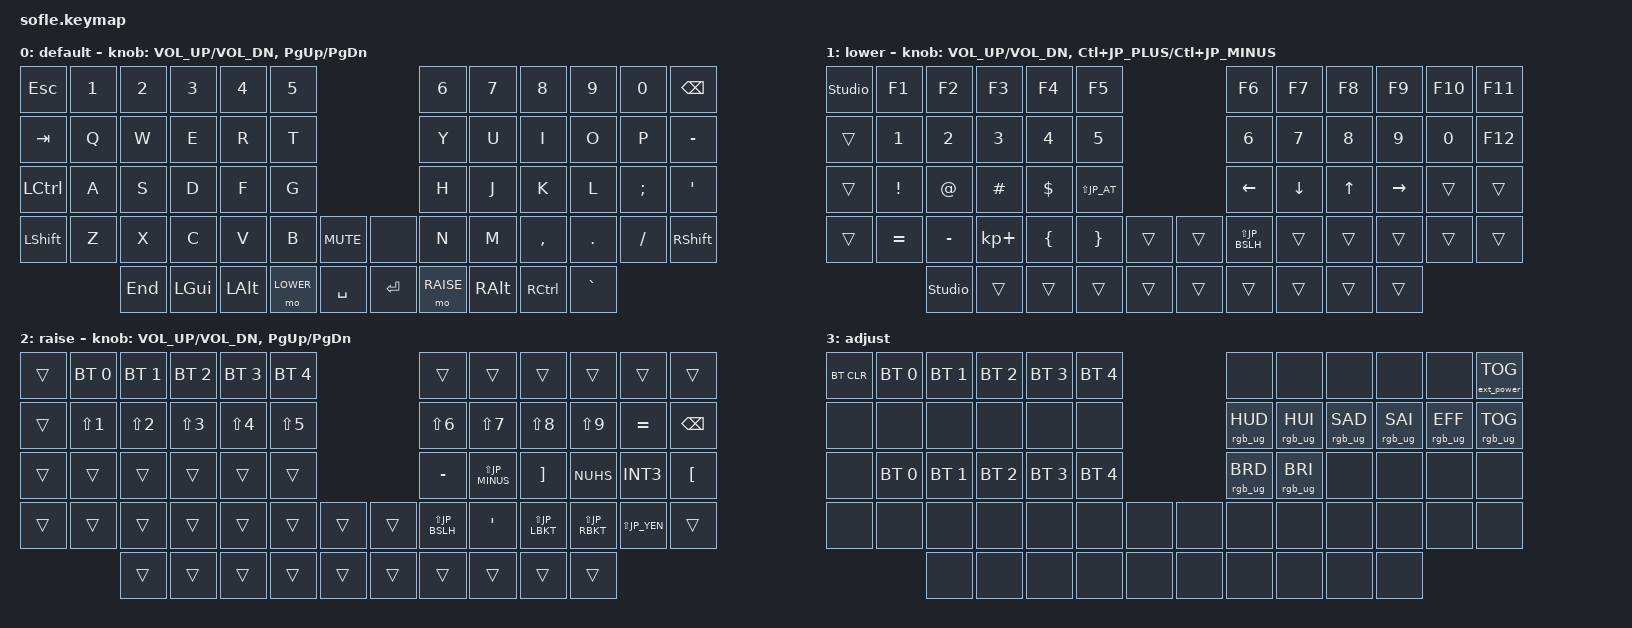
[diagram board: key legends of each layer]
/*
 * Copyright (c) 2020 The ZMK Contributors
 *
 * SPDX-License-Identifier: MIT
 */

#include <behaviors.dtsi>
#include <dt-bindings/zmk/bt.h>
#include <dt-bindings/zmk/ext_power.h>
#include <dt-bindings/zmk/keys.h>
#include <dt-bindings/zmk/rgb.h>

#define BASE 0
#define LOWER 1
#define RAISE 2
#define ADJUST 3

#define JP_ZKHK  GRAVE        // Zenkaku ↔ Hankaku ↔ Kanji (半角 ↔ 全角 ↔ 漢字)
#define JP_MINUS MINUS        // -
#define JP_CARET EQUAL        // ^
#define JP_YEN   INT3         // ¥
#define JP_AT    LBKT         // @
#define JP_LBKT  RBKT         // [
#define JP_EISU  CAPS         // Eisū (英数)
#define JP_SEMI  SEMI         // ;
#define JP_COLON SQT          // :
#define JP_RBKT  NUHS         // ]
#define JP_COMMA COMMA        // ,
#define JP_DOT   DOT          // .
#define JP_SLASH SLASH        // /
#define JP_BSLH  INT1         // (backslash)
#define JP_MHEN  INT5         // Muhenkan (無変換)
#define JP_HENK  INT4         // Henkan (変換)
#define JP_KANA  INT2         // Katakana ↔ Hiragana ↔ Rōmaji (カタカナ ↔ ひらがな ↔ ローマ字)
#define JP_EXCL  LS(N1)       // !
#define JP_DQT   LS(N2)       // "
#define JP_HASH  LS(N3)       // #
#define JP_DLLR  LS(N4)       // $
#define JP_PRCNT LS(N5)       // %
#define JP_AMPS  LS(N6)       // &
#define JP_SQT   LS(N7)       // '
#define JP_LPAR  LS(N8)       // (
#define JP_RPAR  LS(N9)       // )
#define JP_EQUAL LS(JP_MINUS) // =
#define JP_TILDE LS(JP_CARET) // ~
#define JP_PIPE  LS(JP_YEN)   // |
#define JP_GRAVE LS(JP_AT)    // `
#define JP_LBRC  LS(JP_LBKT)  // {
#define JP_CAPS  LS(JP_EISU)  // Caps Lock
#define JP_PLUS  LS(JP_SEMI)  // +
#define JP_ASTRK LS(JP_COLON) // *
#define JP_RBRC  LS(JP_RBKT)  // }
#define JP_LT    LS(JP_COMMA) // <
#define JP_RT    LS(JP_DOT)   // >
#define JP_QMARK LS(JP_SLASH) // ?
#define JP_UNDER LS(JP_BSLH)  // _

/ {
    // Activate ADJUST layer by pressing raise and lower

    conditional_layers {
        compatible = "zmk,conditional-layers";

        adjust_layer {
            if-layers = <LOWER RAISE>;
            then-layer = <ADJUST>;
        };
    };

    keymap {
        compatible = "zmk,keymap";

        default_layer {
            label = "default";

            // ------------------------------------------------------------------------------------------------------------
            // |  ESC  |  1  |  2  |  3  |  4  |   5   |                   |   6   |  7  |     8    |    9   |    0    | BSPC     |
            // |  TAB  |  Q  |  W  |  E  |  R  |   T   |                   |   Y   |  U  |     I    |    O   |    P    | JP_MINUS |
            // | LCTRL |  A  |  S  |  D  |  F  |   G   |                   |   H   |  J  |     K    |    L   | JP_SEMI | JP_COLON |
            // | SHIFT |  Z  |  X  |  C  |  V  |   B   |  MUTE  |  |       |   N   |  M  | JP_COMMA | JP_DOT | JP_SLASH|  SHIFT   |
            //               | END | GUI | ALT | LOWER |  SPACE |  | ENTER | RAISE | ALT |   RCTRL  | JP_ZKHK|

            bindings = <
&kp ESC    &kp N1  &kp N2    &kp N3    &kp N4     &kp N5                            &kp N6     &kp N7     &kp N8        &kp N9      &kp N0       &kp BSPC
&kp TAB    &kp Q   &kp W     &kp E     &kp R      &kp T                             &kp Y      &kp U      &kp I         &kp O       &kp P        &kp JP_MINUS
&kp LCTRL  &kp A   &kp S     &kp D     &kp F      &kp G                             &kp H      &kp J      &kp K         &kp L       &kp JP_SEMI  &kp JP_COLON
&kp LSHFT  &kp Z   &kp X     &kp C     &kp V      &kp B      &kp C_MUTE  &none      &kp N      &kp M      &kp JP_COMMA  &kp JP_DOT  &kp JP_SLASH &kp RSHFT
                   &kp END   &kp LGUI  &kp LALT   &mo LOWER  &kp SPACE   &kp RET    &mo RAISE  &kp RALT   &kp RCTRL     &kp JP_ZKHK
            >;

            sensor-bindings = <&inc_dec_kp C_VOL_UP C_VOL_DN &inc_dec_kp PG_UP PG_DN>;
        };

        lower_layer {
            label = "lower";

            // TODO: Some binds are waiting for shifted keycode support.
            // ------------------------------------------------------------------------------------------------------------
            // |       |  F1 |  F2 |  F3  |  F4  |    F5    |                   |  F6  |  F7   |  F8   |  F9  |  F10  |  F11  |
            // |       |  1  |  2  |  3   |  4   |    5     |                   |  6   |  7    |  8    |  9   |   0   |  F12  |
            // |       |  !  |  @  |  #   |  $   | JP_GRAVE |                   |  <-  |  v    |  ^    |  ->  |       |       |
            // |       |  =  |  -  |  +   |  {   |          |        |  |       |  -   |       |       |      |       |       |
            //               |     |      |      |          |        |  |       |      |       |       |      |

            bindings = <
&studio_unlock  &kp F1     &kp F2     &kp F3       &kp F4    &kp F5                       &kp F6       &kp F7    &kp F8    &kp F9     &kp F10  &kp F11
&trans          &kp N1     &kp N2     &kp N3       &kp N4    &kp N5                       &kp N6       &kp N7    &kp N8    &kp N9     &kp N0   &kp F12
&trans          &kp EXCL   &kp AT     &kp HASH     &kp DLLR  &kp JP_GRAVE                 &kp LEFT     &kp DOWN  &kp UP    &kp RIGHT  &trans   &trans
&trans          &kp EQUAL  &kp MINUS  &kp KP_PLUS  &kp LBRC  &kp RBRC   &trans    &trans  &kp JP_UNDER &trans    &trans    &trans     &trans   &trans
                   &studio_unlock     &trans       &trans    &trans     &trans    &trans  &trans       &trans    &trans    &trans
            >;

            sensor-bindings = <&inc_dec_kp C_VOL_UP C_VOL_DN &inc_dec_kp LC(JP_PLUS) LC(JP_MINUS)>;
        };

        raise_layer {
            label = "raise";

            // ------------------------------------------------------------------------------------------------------------
            // | BTCLR |   BT1   |  BT2   |   BT3   |   BT4   |    BT5   |                |          |          |         |         |          |       |
            // |       | JP_EXCL | JP_DQT | JP_HASH | JP_DLLR | JP_PRCNT |                | JP_AMPS  |  JP_SQT  | JP_LPAR | JP_RPAR | JP_CARET | BSPC  |
            // |       |         |        |         |         |          |                | JP_MINUS | JP_EQUAL | JP_LBKT | JP_RBKT |  JP_YEN  | JP_AT |
            // |       |         |        |         |         |          |      |  |      | JP_UNDER | JP_COLON | JP_LBRC | JP_RBRC |  JP_PIPE |       |
            //                   |        |         |         |          |      |  |      |          |          |         |         |

            bindings = <
&trans  &bt BT_SEL 0  &bt BT_SEL 1  &bt BT_SEL 2  &bt BT_SEL 3  &bt BT_SEL 4                    &trans       &trans       &trans      &trans      &trans       &trans
&trans  &kp JP_EXCL   &kp JP_DQT    &kp JP_HASH   &kp JP_DLLR   &kp JP_PRCNT                    &kp JP_AMPS  &kp JP_SQT   &kp JP_LPAR &kp JP_RPAR &kp JP_CARET &kp BSPC
&trans  &trans        &trans        &trans        &trans        &trans                          &kp JP_MINUS &kp JP_EQUAL &kp JP_LBKT &kp JP_RBKT &kp JP_YEN   &kp JP_AT
&trans  &trans        &trans        &trans        &trans        &trans        &trans    &trans  &kp JP_UNDER &kp JP_COLON &kp JP_LBRC &kp JP_RBRC &kp JP_PIPE  &trans
                      &trans        &trans        &trans        &trans        &trans    &trans  &trans       &trans    &trans    &trans
            >;

            sensor-bindings = <&inc_dec_kp C_VOL_UP C_VOL_DN &inc_dec_kp PG_UP PG_DN>;
        };

        adjust_layer {
            // ----------------------------------------------------------------------------------------------------------------------------
            // | BTCLR |  BT1  |  BT2  |  BT3  |  BT4  |  BT5  |               |         |         |         |         |         | EXTPWR  |
            // |       |       |       |       |       |       |               | RGB_HUD | RGB_HUI | RGB_SAD | RGB_SAI | RGB_EFF | RGB_TOG |
            // |       |  BT1  |  BT2  |  BT3  |  BT4  |  BT5  |               | RGB_BRD | RGB_BRI |         |         |         |         |
            // |       |       |       |       |       |       |      | |      |         |         |         |         |         |         |
            //                 |       |       |       |       |      | |      |         |         |         |         |

            label = "adjust";
            bindings = <
&bt BT_CLR  &bt BT_SEL 0  &bt BT_SEL 1  &bt BT_SEL 2  &bt BT_SEL 3  &bt BT_SEL 4                  &none            &none            &none            &none            &none            &ext_power EP_TOG
&none       &none         &none         &none         &none         &none                         &rgb_ug RGB_HUD  &rgb_ug RGB_HUI  &rgb_ug RGB_SAD  &rgb_ug RGB_SAI  &rgb_ug RGB_EFF  &rgb_ug RGB_TOG
&none       &bt BT_SEL 0  &bt BT_SEL 1  &bt BT_SEL 2  &bt BT_SEL 3  &bt BT_SEL 4                  &rgb_ug RGB_BRD  &rgb_ug RGB_BRI  &none            &none            &none            &none  
&none       &none         &none         &none         &none         &none         &none    &none  &none            &none            &none            &none            &none            &none
                          &none         &none         &none         &none         &none    &none  &none            &none            &none            &none
            >;
        };
    };
};
